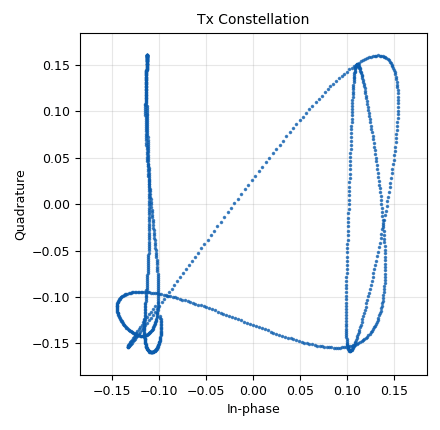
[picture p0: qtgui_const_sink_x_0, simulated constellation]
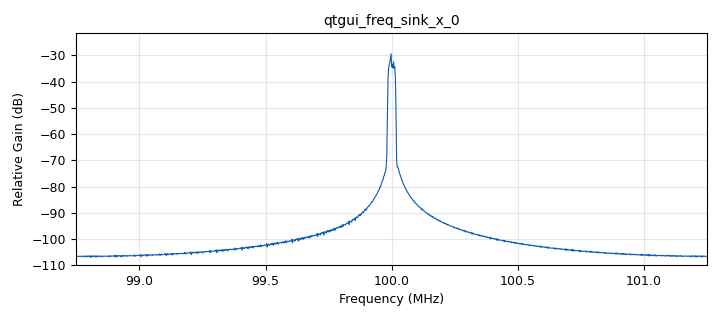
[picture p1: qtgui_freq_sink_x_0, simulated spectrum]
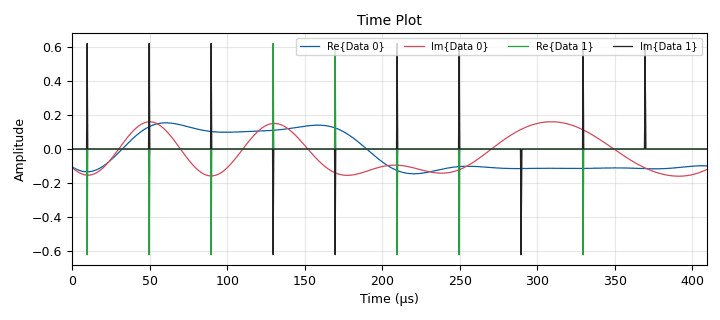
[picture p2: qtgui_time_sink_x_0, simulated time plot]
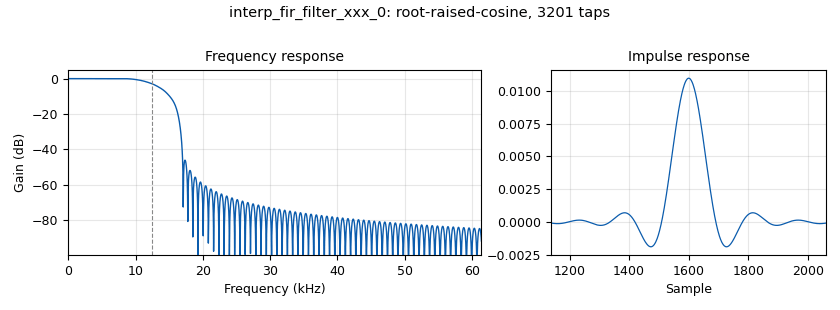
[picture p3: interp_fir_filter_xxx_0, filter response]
<?xml version='1.0' encoding='utf-8'?>
<?grc format='1' created='3.7.11'?>
<flow_graph>
<block>
<key>options</key>
<param><key>id</key><value>top_block</value></param>
<param><key>generate_options</key><value>qt_gui</value></param>
</block>
<block>
<key>variable_rrc_filter_taps</key>
<param><key>id</key><value>rrc_filter_taps</value></param>
<param><key>alpha</key><value>0.35</value></param>
<param><key>gain</key><value>1</value></param>
<param><key>ntaps</key><value>32*sps+1</value></param>
<param><key>samp_rate</key><value>samp_rate</value></param>
<param><key>sym_rate</key><value>samp_rate/sps</value></param>
</block>
<block>
<key>variable</key>
<param><key>id</key><value>samp_rate</value></param>
<param><key>value</key><value>2500000</value></param>
</block>
<block>
<key>variable</key>
<param><key>id</key><value>signal_bandwidth</value></param>
<param><key>comment</key><value>Adjust this value to set the 
bandwidth of the signal</value></param>
<param><key>value</key><value>25000</value></param>
</block>
<block>
<key>variable</key>
<param><key>id</key><value>sps</value></param>
<param><key>value</key><value>samp_rate/signal_bandwidth</value></param>
</block>
<block>
<key>variable_qtgui_range</key>
<param><key>id</key><value>tone_freq</value></param>
<param><key>value</key><value>100e6</value></param>
<param><key>gui_hint</key><value>1,0,1,1</value></param>
<param><key>label</key><value>Tone Frequency</value></param>
<param><key>orient</key><value>Qt.Horizontal</value></param>
<param><key>start</key><value>50e6</value></param>
<param><key>step</key><value>1000</value></param>
<param><key>stop</key><value>3000e6</value></param>
</block>
<block>
<key>variable_qtgui_range</key>
<param><key>id</key><value>tone_freq_offset</value></param>
<param><key>value</key><value>0</value></param>
<param><key>gui_hint</key><value>1,1,1,1</value></param>
<param><key>label</key><value>Offset Frequency</value></param>
<param><key>orient</key><value>Qt.Horizontal</value></param>
<param><key>start</key><value>0</value></param>
<param><key>step</key><value>100</value></param>
<param><key>stop</key><value>samp_rate/4</value></param>
</block>
<block>
<key>variable_qtgui_range</key>
<param><key>id</key><value>tx_gain</value></param>
<param><key>value</key><value>0</value></param>
<param><key>label</key><value>Tx Gain</value></param>
<param><key>orient</key><value>Qt.Horizontal</value></param>
<param><key>start</key><value>0</value></param>
<param><key>step</key><value>1</value></param>
<param><key>stop</key><value>60</value></param>
<param><key>rangeType</key><value>int</value></param>
</block>
<block>
<key>analog_agc_xx</key>
<param><key>id</key><value>analog_agc_xx_0</value></param>
<param><key>gain</key><value>1.0</value></param>
<param><key>max_gain</key><value>1e3</value></param>
<param><key>rate</key><value>1e-4</value></param>
<param><key>reference</key><value>0.6</value></param>
<param><key>type</key><value>complex</value></param>
</block>
<block>
<key>analog_random_source_x</key>
<param><key>id</key><value>analog_random_source_x_0</value></param>
<param><key>max</key><value>4</value></param>
<param><key>min</key><value>0</value></param>
<param><key>num_samps</key><value>50000</value></param>
<param><key>type</key><value>int</value></param>
<param><key>repeat</key><value>True</value></param>
</block>
<block>
<key>blocks_delay</key>
<param><key>id</key><value>blocks_delay_0</value></param>
<param><key>delay</key><value>32*sps</value></param>
<param><key>type</key><value>complex</value></param>
</block>
<block>
<key>blocks_multiply_const_vxx</key>
<param><key>id</key><value>blocks_multiply_const_vxx_0</value></param>
<param><key>const</key><value>0.62</value></param>
<param><key>type</key><value>complex</value></param>
</block>
<block>
<key>digital_chunks_to_symbols_xx</key>
<param><key>id</key><value>digital_chunks_to_symbols_xx_0</value></param>
<param><key>dimension</key><value>1</value></param>
<param><key>in_type</key><value>int</value></param>
<param><key>out_type</key><value>complex</value></param>
<param><key>symbol_table</key><value>[-1-1j, -1+1j, 1+1j, 1-1j]</value></param>
</block>
<block>
<key>interp_fir_filter_xxx</key>
<param><key>id</key><value>interp_fir_filter_xxx_0</value></param>
<param><key>interp</key><value>sps</value></param>
<param><key>taps</key><value>rrc_filter_taps</value></param>
<param><key>type</key><value>ccc</value></param>
</block>
<block>
<key>interp_fir_filter_xxx</key>
<param><key>id</key><value>interp_fir_filter_xxx_0_0</value></param>
<param><key>interp</key><value>sps</value></param>
<param><key>samp_delay</key><value>512</value></param>
<param><key>taps</key><value>1</value></param>
<param><key>type</key><value>ccc</value></param>
</block>
<block>
<key>limesdr_sink</key>
<param><key>id</key><value>limesdr_sink_0</value></param>
<param><key>channel</key><value>0</value></param>
<param><key>analog_filter_ch0</key><value>1</value></param>
<param><key>cmix_mode_ch0</key><value>0</value></param>
<param><key>calibration_ch0</key><value>1</value></param>
<param><key>digital_bandw_ch0</key><value>2e6</value></param>
<param><key>digital_filter_ch0</key><value>0</value></param>
<param><key>gain_dB_ch0</key><value>tx_gain</value></param>
<param><key>nco_freq_ch0</key><value>tone_freq_offset</value></param>
<param><key>pa_path_ch0</key><value>1</value></param>
<param><key>pa_path_mini</key><value>1</value></param>
<param><key>analog_filter_ch1</key><value>1</value></param>
<param><key>cmix_mode_ch1</key><value>0</value></param>
<param><key>calibr_bandw_ch1</key><value>10e6</value></param>
<param><key>calibration_ch1</key><value>0</value></param>
<param><key>digital_bandw_ch1</key><value>0</value></param>
<param><key>digital_filter_ch1</key><value>0</value></param>
<param><key>gain_dB_ch1</key><value>30</value></param>
<param><key>pa_path_ch1</key><value>1</value></param>
<param><key>chip_mode</key><value>1</value></param>
<param><key>serial</key><value>1D40F7A60B4B4E</value></param>
<param><key>device_type</key><value>1</value></param>
<param><key>file_switch</key><value>0</value></param>
<param><key>oversample</key><value>0</value></param>
<param><key>rf_freq</key><value>tone_freq</value></param>
<param><key>samp_rate</key><value>samp_rate</value></param>
</block>
<block>
<key>note</key>
<param><key>id</key><value>note_0</value></param>
<param><key>comment</key><value>This is an in-efficient way to generate a pulse 
shaped waveform. It would be more efficient 
to generate it at a lower/fixed sample rate, then 
upsample to samp_rate before Tx.</value></param>
<param><key>note</key><value>Read comments</value></param>
</block>
<block>
<key>qtgui_const_sink_x</key>
<param><key>id</key><value>qtgui_const_sink_x_0</value></param>
<param><key>autoscale</key><value>True</value></param>
<param><key>gui_hint</key><value>2,0,1,1</value></param>
<param><key>grid</key><value>True</value></param>
<param><key>name</key><value>Tx Constellation</value></param>
<param><key>size</key><value>1024</value></param>
<param><key>type</key><value>complex</value></param>
<param><key>xmax</key><value>1</value></param>
<param><key>xmin</key><value>-1</value></param>
<param><key>ymax</key><value>1</value></param>
<param><key>ymin</key><value>-1</value></param>
</block>
<block>
<key>qtgui_freq_sink_x</key>
<param><key>id</key><value>qtgui_freq_sink_x_0</value></param>
<param><key>autoscale</key><value>True</value></param>
<param><key>average</key><value>0.2</value></param>
<param><key>bw</key><value>samp_rate</value></param>
<param><key>fc</key><value>tone_freq</value></param>
<param><key>fftsize</key><value>1024</value></param>
<param><key>gui_hint</key><value>0,0,1,2</value></param>
<param><key>grid</key><value>True</value></param>
<param><key>showports</key><value>True</value></param>
<param><key>type</key><value>complex</value></param>
<param><key>wintype</key><value>firdes.WIN_HAMMING</value></param>
<param><key>units</key><value>dBm</value></param>
</block>
<block>
<key>qtgui_time_sink_x</key>
<param><key>id</key><value>qtgui_time_sink_x_0</value></param>
<param><key>autoscale</key><value>True</value></param>
<param><key>gui_hint</key><value>2,1,1,1</value></param>
<param><key>grid</key><value>True</value></param>
<param><key>color1</key><value>"blue"</value></param>
<param><key>label1</key><value></value></param>
<param><key>color2</key><value>"red"</value></param>
<param><key>label2</key><value></value></param>
<param><key>color3</key><value>"green"</value></param>
<param><key>label3</key><value></value></param>
<param><key>color4</key><value>"black"</value></param>
<param><key>label4</key><value></value></param>
<param><key>name</key><value>Time Plot</value></param>
<param><key>nconnections</key><value>2</value></param>
<param><key>size</key><value>1024</value></param>
<param><key>srate</key><value>samp_rate</value></param>
<param><key>type</key><value>complex</value></param>
</block>
<connection><source_block_id>analog_agc_xx_0</source_block_id><sink_block_id>limesdr_sink_0</sink_block_id><source_key>0</source_key><sink_key>0</sink_key></connection>
<connection><source_block_id>analog_agc_xx_0</source_block_id><sink_block_id>qtgui_const_sink_x_0</sink_block_id><source_key>0</source_key><sink_key>0</sink_key></connection>
<connection><source_block_id>analog_agc_xx_0</source_block_id><sink_block_id>qtgui_freq_sink_x_0</sink_block_id><source_key>0</source_key><sink_key>0</sink_key></connection>
<connection><source_block_id>analog_agc_xx_0</source_block_id><sink_block_id>qtgui_time_sink_x_0</sink_block_id><source_key>0</source_key><sink_key>0</sink_key></connection>
<connection><source_block_id>analog_random_source_x_0</source_block_id><sink_block_id>digital_chunks_to_symbols_xx_0</sink_block_id><source_key>0</source_key><sink_key>0</sink_key></connection>
<connection><source_block_id>blocks_delay_0</source_block_id><sink_block_id>blocks_multiply_const_vxx_0</sink_block_id><source_key>0</source_key><sink_key>0</sink_key></connection>
<connection><source_block_id>blocks_multiply_const_vxx_0</source_block_id><sink_block_id>qtgui_time_sink_x_0</sink_block_id><source_key>0</source_key><sink_key>1</sink_key></connection>
<connection><source_block_id>digital_chunks_to_symbols_xx_0</source_block_id><sink_block_id>interp_fir_filter_xxx_0</sink_block_id><source_key>0</source_key><sink_key>0</sink_key></connection>
<connection><source_block_id>digital_chunks_to_symbols_xx_0</source_block_id><sink_block_id>interp_fir_filter_xxx_0_0</sink_block_id><source_key>0</source_key><sink_key>0</sink_key></connection>
<connection><source_block_id>interp_fir_filter_xxx_0</source_block_id><sink_block_id>analog_agc_xx_0</sink_block_id><source_key>0</source_key><sink_key>0</sink_key></connection>
<connection><source_block_id>interp_fir_filter_xxx_0_0</source_block_id><sink_block_id>blocks_delay_0</sink_block_id><source_key>0</source_key><sink_key>0</sink_key></connection>
</flow_graph>
